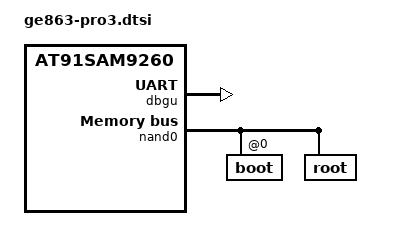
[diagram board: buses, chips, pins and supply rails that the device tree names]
/*
 * ge863_pro3.dtsi - Device Tree file for Telit GE863-PRO3
 *
 * Copyright (C) 2012 Telit,
 *               2012 Fabio Porcedda <fabio.porcedda@gmail.com>
 *
 * Licensed under GPLv2 or later.
 */

#include "at91sam9260.dtsi"

/ {
	clocks {
		main_xtal {
			clock-frequency = <6000000>;
		};
	};

	ahb {
		apb {
			tcb0: timer@fffa0000 {
				timer@0 {
					compatible = "atmel,tcb-timer";
					reg = <0>, <1>;
				};

				timer@2 {
					compatible = "atmel,tcb-timer";
					reg = <2>;
				};
			};

			dbgu: serial@fffff200 {
				status = "okay";
			};
		};

		nand0: nand@40000000 {
			nand-bus-width = <8>;
			nand-ecc-mode = "soft";
			nand-on-flash-bbt;
			status = "okay";

			boot@0 {
				label = "boot";
				reg = <0x0 0x7c0000>;
			};

			root@07c0000 {
				label = "root";
				reg = <0x7c0000 0x7840000>;
			};
		};
	};

	chosen {
		bootargs = "console=ttyS0,115200 root=ubi0:rootfs ubi.mtd=1 rootfstype=ubifs";
	};
};
